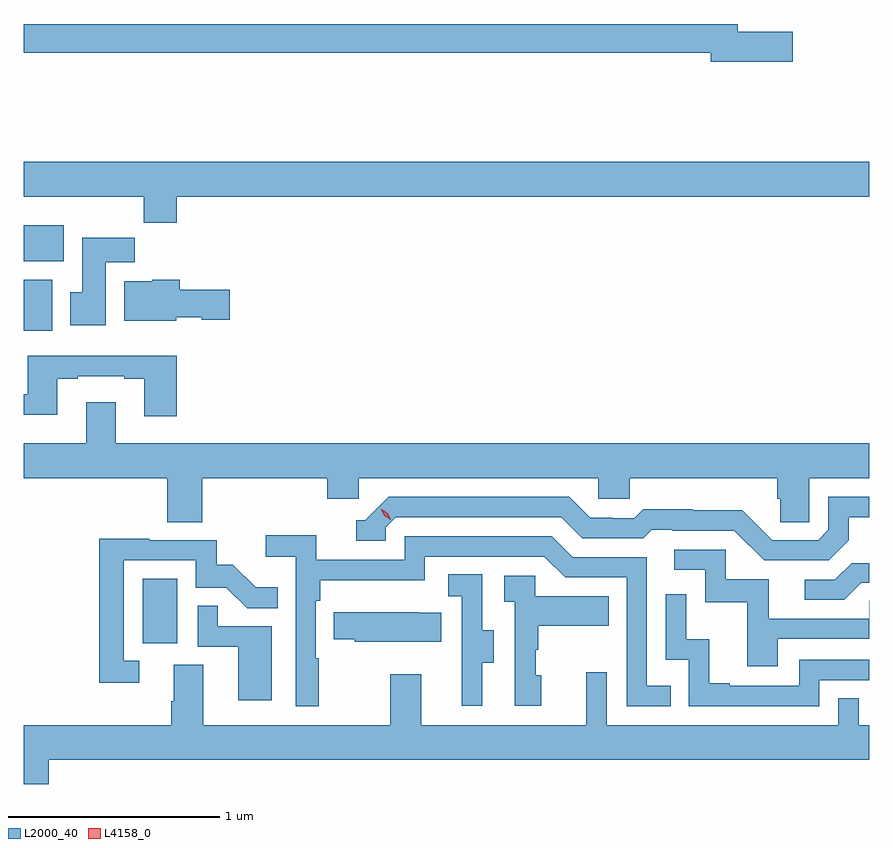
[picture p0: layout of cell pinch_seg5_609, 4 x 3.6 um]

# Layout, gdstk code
import gdstk
lib = gdstk.Library(unit=1e-6, precision=1e-09)
def R(c, l, rs):  # rectangles x0, y0, x1, y1
    for r in rs: c.add(gdstk.rectangle(r[:2], r[2:], *l))
def P(c, l, *ps):  # polygons
    for p in ps: c.add(gdstk.Polygon(p, *l))
L2000_40 = (2000, 40)
L4158_0 = (4158, 0)

pinch_seg5_609 = lib.new_cell('pinch_seg5_609')
R(pinch_seg5_609, L2000_40, [(1018.91,873.294,1019.074,873.601), (1018.348,874.772,1018.483,875.014), (1018.348,875.102,1018.537,875.272)])
P(pinch_seg5_609, L2000_40, [(1021.987,876.188),(1021.726,876.188),(1021.726,876.224),(1018.348,876.224),(1018.348,876.088),(1021.598,876.088),(1021.598,876.046),(1021.987,876.046)],
  [(1019.072,875.408),(1022.348,875.408),(1022.348,875.572),(1018.348,875.572),(1018.348,875.408),(1018.915,875.408),(1018.915,875.284),(1019.072,875.284)],
  [(1018.735,875.096),(1018.874,875.096),(1018.874,875.214),(1018.625,875.214),(1018.625,874.956),(1018.568,874.956),(1018.568,874.8),(1018.735,874.8)],
  [(1019.07,874.838),(1019.19,874.838),(1019.19,874.826),(1019.323,874.826),(1019.323,874.968),(1019.087,874.968),(1019.087,875.014),(1018.956,875.014),(1018.956,875.008),(1018.823,875.008),(1018.823,874.82),(1019.07,874.82)],
  [(1019.072,874.654),(1018.367,874.654),(1018.367,874.473),(1018.348,874.473),(1018.348,874.376),(1018.507,874.376),(1018.507,874.545),(1018.603,874.545),(1018.603,874.557),(1018.823,874.557),(1018.823,874.545),(1018.919,874.545),(1018.919,874.368),(1019.072,874.368)],
  [(1019.192,874.076),(1019.783,874.076),(1019.783,873.978),(1019.934,873.978),(1019.934,874.076),(1021.065,874.076),(1021.065,873.978),(1021.215,873.978),(1021.215,874.076),(1021.913,874.076),(1021.913,873.978),(1021.927,873.978),(1021.927,873.868),(1022.064,873.868),(1022.064,874.076),(1022.348,874.076),(1022.348,874.24),(1018.783,874.24),(1018.783,874.435),(1018.643,874.435),(1018.643,874.24),(1018.348,874.24),(1018.348,874.076),(1019.027,874.076),(1019.027,873.868),(1019.192,873.868)],
  [(1022.251,873.781),(1022.251,873.891),(1022.348,873.891),(1022.348,873.987),(1022.154,873.987),(1022.154,873.831),(1022.106,873.783),(1021.89,873.783),(1021.748,873.925),(1021.512,873.925),(1021.512,873.928),(1021.279,873.928),(1021.237,873.885),(1021.134,873.885),(1021.134,873.888),(1021.027,873.888),(1020.928,873.987),(1020.075,873.987),(1019.964,873.876),(1019.921,873.876),(1019.921,873.78),(1020.06,873.78),(1020.06,873.843),(1020.108,873.891),(1020.891,873.891),(1020.99,873.792),(1021.279,873.792),(1021.318,873.831),(1021.417,873.831),(1021.417,873.828),(1021.71,873.828),(1021.851,873.687),(1022.157,873.687)],
  [(1019.743,873.224),(1019.73,873.224),(1019.73,873.497),(1019.75,873.497),(1019.75,873.593),(1020.246,873.593),(1020.246,873.705),(1020.81,873.705),(1020.909,873.606),(1021.2,873.606),(1021.2,872.997),(1021.409,872.997),(1021.409,873.093),(1021.296,873.093),(1021.296,873.702),(1020.946,873.702),(1020.847,873.801),(1020.15,873.801),(1020.15,873.69),(1019.732,873.69),(1019.732,873.806),(1019.493,873.806),(1019.493,873.704),(1019.634,873.704),(1019.634,872.997),(1019.743,872.997)],
  [(1018.894,873.213),(1018.821,873.213),(1018.821,873.687),(1019.163,873.687),(1019.163,873.558),(1019.307,873.558),(1019.405,873.46),(1019.549,873.46),(1019.549,873.559),(1019.445,873.559),(1019.338,873.666),(1019.262,873.666),(1019.262,873.783),(1018.943,873.783),(1018.943,873.788),(1018.705,873.788),(1018.705,873.108),(1018.894,873.108)],
  [(1021.915,873.315),(1022.348,873.315),(1022.348,873.495),(1022.347,873.495),(1022.347,873.411),(1021.873,873.411),(1021.873,873.597),(1021.668,873.597),(1021.668,873.738),(1021.425,873.738),(1021.425,873.642),(1021.572,873.642),(1021.572,873.489),(1021.771,873.489),(1021.771,873.186),(1021.915,873.186)],
  [(1022.311,873.582),(1022.348,873.582),(1022.348,873.674),(1022.264,873.674),(1022.184,873.594),(1022.043,873.594),(1022.043,873.501),(1022.23,873.501)],
  [(1020.517,873.202),(1020.571,873.202),(1020.571,873.357),(1020.516,873.357),(1020.516,873.62),(1020.357,873.62),(1020.357,873.517),(1020.42,873.517),(1020.42,873.213),(1020.419,873.213),(1020.419,873),(1020.517,873)],
  [(1020.796,873.144),(1020.771,873.144),(1020.771,873.263),(1020.781,873.263),(1020.781,873.377),(1021.115,873.377),(1021.115,873.517),(1020.768,873.517),(1020.768,873.615),(1020.621,873.615),(1020.621,873.491),(1020.672,873.491),(1020.672,873),(1020.796,873)],
  [(1022.112,873.12),(1022.348,873.12),(1022.348,873.216),(1022.016,873.216),(1022.016,873.093),(1021.687,873.093),(1021.687,873.106),(1021.592,873.106),(1021.592,873.314),(1021.482,873.314),(1021.482,873.526),(1021.386,873.526),(1021.386,873.216),(1021.494,873.216),(1021.494,872.997),(1022.112,872.997)],
  [(1019.521,873.375),(1019.267,873.375),(1019.267,873.473),(1019.172,873.473),(1019.172,873.279),(1019.363,873.279),(1019.363,873.024),(1019.521,873.024)],
  [(1020.323,873.439),(1020.215,873.439),(1020.215,873.442),(1019.815,873.442),(1019.815,873.313),(1019.913,873.313),(1019.913,873.302),(1020.323,873.302)],
  [(1018.466,872.744),(1022.348,872.744),(1022.348,872.908),(1022.298,872.908),(1022.298,873.035),(1022.202,873.035),(1022.202,872.908),(1021.107,872.908),(1021.107,873.157),(1021.01,873.157),(1021.01,872.908),(1020.229,872.908),(1020.229,873.148),(1020.082,873.148),(1020.082,872.908),(1019.197,872.908),(1019.197,873.194),(1019.057,873.194),(1019.057,873.02),(1019.045,873.02),(1019.045,872.908),(1018.348,872.908),(1018.348,872.629),(1018.466,872.629)])
P(pinch_seg5_609, L4158_0, [(1020.085,873.878),(1020.054,873.897),(1020.037,873.93),(1020.037,873.93),(1020.038,873.93),(1020.069,873.91),(1020.085,873.878),(1020.085,873.878)])

lib.write_gds('pinch_seg5_609.gds')
